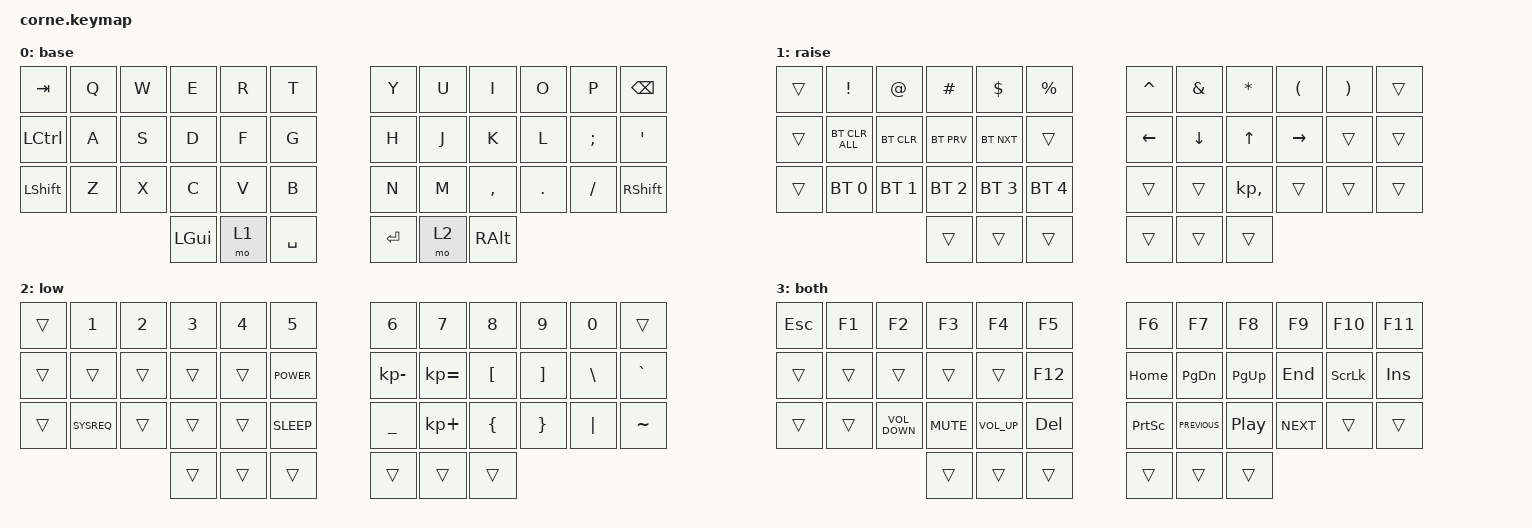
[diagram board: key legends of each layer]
#include <behaviors.dtsi>
#include <dt-bindings/zmk/keys.h>
#include <dt-bindings/zmk/bt.h>

/ {
    keymap {
        compatible = "zmk,keymap";

        base {
            bindings = <
&kp TAB           &kp Q  &kp W  &kp E     &kp R   &kp T        &kp Y      &kp U   &kp I          &kp O       &kp P      &kp BACKSPACE
&kp LEFT_CONTROL  &kp A  &kp S  &kp D     &kp F   &kp G        &kp H      &kp J   &kp K          &kp L       &kp SEMI   &kp SINGLE_QUOTE
&kp LEFT_SHIFT    &kp Z  &kp X  &kp C     &kp V   &kp B        &kp N      &kp M   &kp COMMA      &kp PERIOD  &kp SLASH  &kp RIGHT_SHIFT
                                &kp LGUI  &mo 1  &kp SPACE    &kp ENTER  &mo 2  &kp RIGHT_ALT
            >;
        };

        raise {
            bindings = <
&trans  &kp EXCLAMATION  &kp AT_SIGN  &kp POUND   &kp DOLLAR  &kp PERCENT    &kp CARET       &kp AMPERSAND   &kp ASTERISK  &kp LEFT_PARENTHESIS  &kp RIGHT_PARENTHESIS  &trans
&trans  &bt BT_CLR_ALL   &bt BT_CLR   &bt BT_PRV  &bt BT_NXT  &trans   &kp LEFT_ARROW  &kp DOWN_ARROW  &kp UP_ARROW  &kp RIGHT             &trans                 &trans
&trans  &bt BT_SEL 0     &bt BT_SEL 1  &bt BT_SEL 2  &bt BT_SEL 3  &bt BT_SEL 4         &trans          &trans          &kp KP_COMMA  &trans                &trans                 &trans
                                      &trans     &trans      &trans         &trans          &trans          &trans
            >;
        };

        low {
            bindings = <
&trans  &kp NUMBER_1  &kp NUMBER_2  &kp NUMBER_3  &kp NUMBER_4  &kp N5         &kp NUMBER_6    &kp NUMBER_7  &kp NUMBER_8    &kp NUMBER_9       &kp NUMBER_0  &trans
&trans  &trans        &trans        &trans        &trans        &kp K_POWER    &kp KP_MINUS    &kp KP_EQUAL  &kp LBKT        &kp RIGHT_BRACKET  &kp BSLH      &kp GRAVE
&trans  &kp SYSREQ    &trans        &trans        &trans        &kp K_SLEEP    &kp UNDERSCORE  &kp KP_PLUS   &kp LEFT_BRACE  &kp RIGHT_BRACE    &kp PIPE      &kp TILDE
                                    &trans        &trans        &trans         &trans          &trans        &trans
            >;
        };

        both {
            bindings = <
&kp ESC  &kp F1  &kp F2             &kp F3      &kp F4           &kp F5        &kp F6           &kp F7          &kp F8            &kp F9      &kp F10         &kp F11
&trans   &trans  &trans             &trans      &trans           &kp F12       &kp HOME         &kp PAGE_DOWN   &kp PAGE_UP       &kp END     &kp SCROLLLOCK  &kp INS
&trans   &trans  &kp C_VOLUME_DOWN  &kp K_MUTE  &kp C_VOLUME_UP  &kp DELETE    &kp PRINTSCREEN  &kp C_PREVIOUS  &kp C_PLAY_PAUSE  &kp C_NEXT  &trans          &trans
                                    &trans      &trans           &trans        &trans           &trans          &trans
            >;
        };
    };

    conditional_layers {
        compatible = "zmk,conditional-layers";

        both {
            if-layers = <1 2>;
            then-layer = <3>;
        };
    };
};
